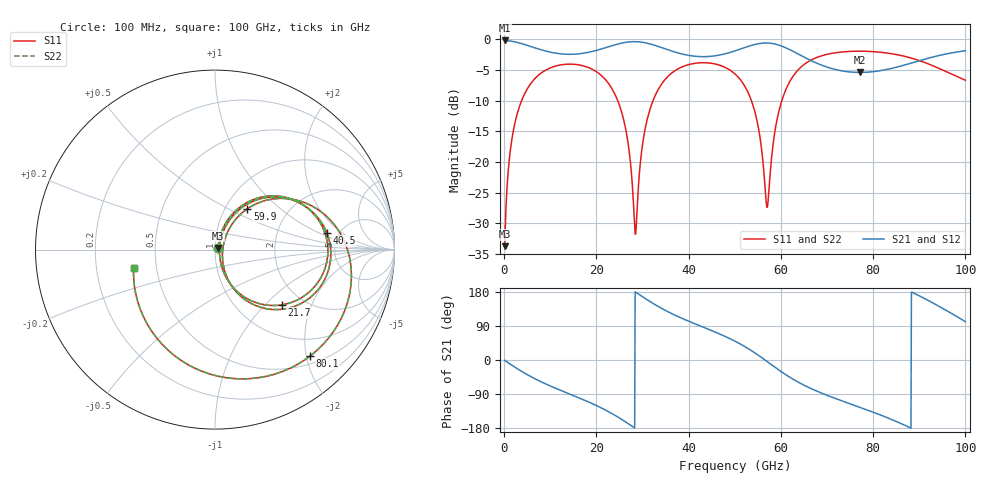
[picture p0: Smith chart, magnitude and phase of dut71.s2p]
! Touchstone file exported from HFSS 2026.1.0
!  File:  C:/ffzhzh/LocalFiles/Ansys_Project_Files/temp_train_TSV_RDL_71_1783449199_34316.aedt
!  Generated:  02:43:32 AM Jul  8, 2026
!  Design:  TSV_RDL
!  Project:  temp_train_TSV_RDL_71_1783449199_34316
! Variables:
!  h_bsmrdl = 2.09um
!  h_ox = 20um
!  h_rdl = 5um
!  h_sub = 83.87um
!  h_tmrdl = 4.86um
!  h_tsv = 83.87um
!  h_via = 3um
!  l_bsmrdl = 359.14um
!  l_sub = 1996.03um
!  l_tmrdl = 104.28um
!  m_sub = 200um
!  pitch = 51.45um
!  r_tsv = 5.53um
!  s_tmrdl = 10um
!  w_bsmrdl = 12.91um
!  w_sub = 500um
!  w_tmrdl = 20.92um
!  x_tsv_center1 = 114.74um
!  x_tsv_center2 = 486.79um
!  x_tsv_center3 = 611.99um
!  x_tsv_center4 = 984.04um
!  x_tsv_center5 = 1109.24um
!  x_tsv_center6 = 1481.29um
# GHz S MA R 50.000000
! Terminal data exported
! Port[1] = TM_RDL1_1_T1
! Port[2] = TM_RDL5_1_T1
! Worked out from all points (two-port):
!   1000 points, 100 MHz to 100 GHz, reference 50 ohm
!   highest |S21| = -0.16 dB at 100 MHz (marker M1); lowest = -5.4 dB at 77.1 GHz (marker M2)
!   |S21| within 3 dB of the highest: start of sweep to 65.76 GHz; 91.47 GHz to end of sweep
!   lowest |S11| = -33.7 dB at 100 MHz (marker M3), VSWR 1.04, Z = 51.9 + j0.969 ohm
!   |S11| at or under -10 dB: start of sweep to 3.777 GHz; 24.63 GHz to 32.27 GHz (7.641 GHz wide, 26.9 % of centre); 53.61 GHz to 60.19 GHz (6.581 GHz wide, 11.6 % of centre)
!   |S22| runs from -33.7 to -1.9 dB; largest |S21 - S12| = 8.6e-14
!   S11 on the Smith chart (normalised r, x): 100 MHz: 1.04, +0.02; 21.7 GHz: 1.56, -1.26; 40.5 GHz: 4.01, +1.23; 59.9 GHz: 1.26, +0.63; 80.1 GHz: 0.64, -2.07; 100 GHz: 0.37, -0.10
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0.1  0.02054 27.1  0.9818 -0.9  0.9818 -0.9  0.02054 27.0
! Gamma 0 0 0 0
! Port Impedance 50 0 50 0
1.6  0.1468 68.5  0.9681 -13.2  0.9681 -13.2  0.1468 68.5
4.3  0.3512 52.5  0.9128 -33.6  0.9128 -33.6  0.3512 52.5
10.8  0.6012 15.5  0.7775 -72.7  0.7775 -72.7  0.6012 15.5
16.8  0.6138 -13.5  0.7686 -102.8  0.7686 -102.8  0.6138 -13.5
21.7  0.4822 -39.7  0.8502 -130.3  0.8502 -130.3  0.4822 -39.7
26  0.2137 -65.7  0.9422 -160.8  0.9422 -160.8  0.2137 -65.8
28.5  0.02568 6.0  0.9599 179.1  0.9599 179.1  0.02519 6.1
30.4  0.1719 64.3  0.9428 163.7  0.9428 163.7  0.1718 64.4
33.4  0.3902 47.1  0.8773 141.3  0.8773 141.3  0.3902 47.2
40.5  0.6302 8.4  0.7366 99.8  0.7366 99.8  0.6302 8.5
45.3  0.6359 -14.2  0.7321 76.0  0.7321 76.0  0.6358 -14.1
50.1  0.5207 -39.0  0.8084 49.4  0.8084 49.4  0.5207 -38.9
54.4  0.2531 -63.9  0.9111 18.4  0.9111 18.4  0.2533 -63.7
57  0.04256 -6.8  0.9362 -3.9  0.9362 -3.9  0.04355 -6.8
59.9  0.29 51.7  0.8909 -29.3  0.8909 -29.3  0.2902 51.5
66.7  0.684 11.0  0.668 -76.3  0.668 -76.3  0.684 10.9
77.1  0.8026 -35.2  0.5384 -124.7  0.5384 -124.7  0.8026 -35.2
80.1  0.7952 -48.2  0.5467 -138.2  0.5467 -138.2  0.7952 -48.2
83.4  0.7713 -63.4  0.5739 -153.9  0.5739 -153.9  0.7712 -63.4
92.4  0.6222 -113.9  0.7104 154.2  0.7104 154.2  0.6222 -113.8
100  0.465 -167.3  0.809 101.2  0.809 101.2  0.465 -167.1
